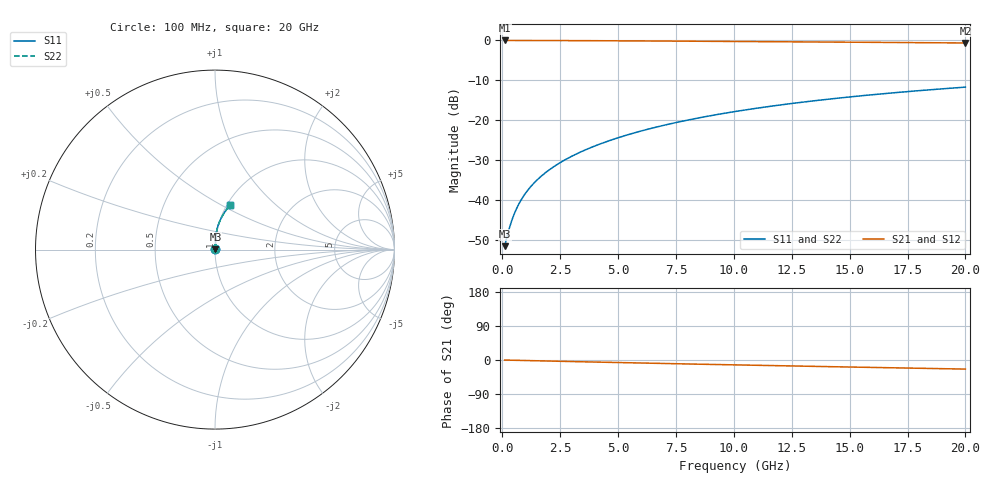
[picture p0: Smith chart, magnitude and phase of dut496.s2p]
! Touchstone file exported from HFSS 2024.1.0
!  File:  C:/UserFiles/LocalFiles/RDL_TSV_Batchsim/temp_RDL_top_496_1779678897.aedt
!  Generated:  11:17:18 AM May 25, 2026
!  Design:  RDL_top
!  Project:  temp_RDL_top_496_1779678897
!  Setup:  Setup1
!  Solution:  Sweep
! Variables:
!  dtsv = 10.80580581um
!  hbump = 3um
!  htsv = 98.4um
!  ldown = 100um
!  lrdl = 286.76um
!  p = 40
!  p1 = 54.02um
!  rhole = 1um
!  t = 450um
!  tdown = 3.915915916um
!  trdl = 2.24um
!  wdown = 15.38538539um
!  wrdl = 23.04um
# GHz S MA R 50.000000
! Terminal data exported
! Port[1] = Box2_T1
! Port[2] = Box2_T2
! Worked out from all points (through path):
!   200 points, 100 MHz to 20 GHz, reference 50 ohm
!   highest |S21| = -0.02 dB at 100 MHz (marker M1); lowest = -0.7 dB at 20 GHz (marker M2)
!   group delay of S21, straight-line fit = 3.31 ps
!   lowest |S11| = -51.5 dB at 100 MHz (marker M3), VSWR 1.01, Z = 50.2 + j0.127 ohm
!   |S11| at or under -10 dB: start of sweep to end of sweep
!   |S22| runs from -51.5 to -11.7 dB; largest |S21 - S12| = 2e-15
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0.1  0.002654 28.5  0.9977 -0.1  0.9977 -0.1  0.002654 28.5
! Gamma 0 0 0 0
! Port Impedance 50 0 50 0
0.3  0.004413 56.4  0.9975 -0.4  0.9975 -0.4  0.004413 56.4
0.4  0.005459 63.0  0.9974 -0.6  0.9974 -0.6  0.005459 63.0
0.5  0.006547 67.3  0.9973 -0.7  0.9973 -0.7  0.006547 67.3
0.6  0.007658 70.5  0.9972 -0.9  0.9972 -0.9  0.007658 70.5
0.7  0.00878 72.8  0.997 -1.0  0.997 -1.0  0.00878 72.8
0.9  0.01104 76.0  0.9968 -1.3  0.9968 -1.3  0.01104 76.0
1.2  0.01445 79.0  0.9965 -1.7  0.9965 -1.7  0.01445 79.0
1.4  0.01673 80.4  0.9962 -1.9  0.9962 -1.9  0.01673 80.4
1.7  0.02017 81.9  0.9958 -2.4  0.9958 -2.4  0.02017 81.9
2.2  0.02596 83.7  0.995 -3.0  0.995 -3.0  0.02596 83.7
2.8  0.03305 85.0  0.9938 -3.8  0.9938 -3.8  0.03305 85.0
3.5  0.04153 85.9  0.9921 -4.8  0.9921 -4.8  0.04153 85.9
4.2  0.05022 86.4  0.9902 -5.7  0.9902 -5.7  0.05022 86.4
5  0.0604 86.6  0.9878 -6.7  0.9878 -6.7  0.0604 86.6
5.9  0.07215 86.4  0.9848 -7.9  0.9848 -7.9  0.07214 86.4
6.8  0.08414 86.0  0.9816 -9.0  0.9816 -9.0  0.08414 86.0
8.4  0.1059 84.8  0.9756 -10.9  0.9756 -10.9  0.1059 84.8
10.1  0.1293 83.1  0.969 -13.0  0.969 -13.0  0.1293 83.1
13.4  0.1744 79.3  0.9558 -16.8  0.9558 -16.8  0.1744 79.3
16.7  0.2182 75.3  0.9421 -20.4  0.9421 -20.4  0.2182 75.3
20  0.2598 71.3  0.9279 -24.0  0.9279 -24.0  0.2598 71.3
